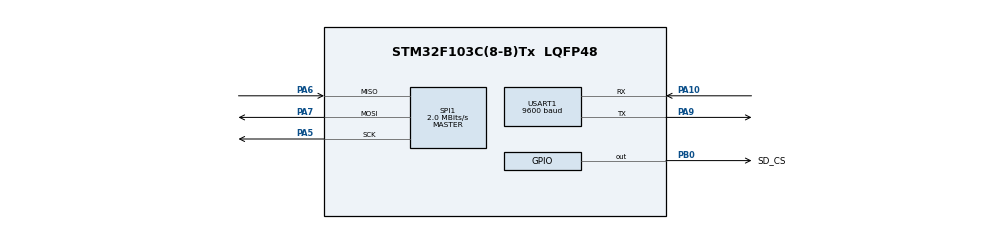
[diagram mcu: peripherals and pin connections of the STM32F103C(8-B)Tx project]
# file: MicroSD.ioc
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FATFS._FS_TINY=1
FATFS._MAX_SS=512
FATFS._USE_LFN=1
Mcu.Family=STM32F1
Mcu.Name=STM32F103C(8-B)Tx
Mcu.Package=LQFP48
NVIC.PriorityGroup=NVIC_PRIORITYGROUP_4
PA10.Mode=Asynchronous
PA10.Signal=USART1_RX
PA13.Mode=Serial_Wire
PA13.Signal=SYS_JTMS-SWDIO
PA14.Mode=Serial_Wire
PA14.Signal=SYS_JTCK-SWCLK
PA5.Mode=Full_Duplex_Master
PA5.Signal=SPI1_SCK
PA6.Mode=Full_Duplex_Master
PA6.Signal=SPI1_MISO
PA7.Mode=Full_Duplex_Master
PA7.Signal=SPI1_MOSI
PA9.Mode=Asynchronous
PA9.Signal=USART1_TX
PB0.GPIO_Label=SD_CS
PB0.Signal=GPIO_Output
ProjectManager.HeapSize=0x200
ProjectManager.StackSize=0x400
ProjectManager.TargetToolchain=STM32CubeIDE
RCC.APB1Freq_Value=8000000
RCC.APB2Freq_Value=8000000
SPI1.BaudRatePrescaler=SPI_BAUDRATEPRESCALER_4
SPI1.CalculateBaudRate=2.0 MBits/s
SPI1.Direction=SPI_DIRECTION_2LINES
SPI1.Mode=SPI_MODE_MASTER
SPI1.VirtualType=VM_MASTER
USART1.BaudRate=9600
USART1.VirtualMode=VM_ASYNC
VP_FATFS_VS_Generic.Mode=User_defined
board=custom

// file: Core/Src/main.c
/* USER CODE BEGIN Header */
/**
 ******************************************************************************
 * @file           : main.c
 * @brief          : Main program body
 ******************************************************************************
 * @attention
 *
 * Copyright (c) 2022 STMicroelectronics.
 * All rights reserved.
 *
 * This software is licensed under terms that can be found in the LICENSE file
 * in the root directory of this software component.
 * If no LICENSE file comes with this software, it is provided AS-IS.
 *
 ******************************************************************************
 */
/* USER CODE END Header */
#include "main.h"
#include "fatfs.h"

/* USER CODE BEGIN Includes */
#include "fatfs_sd.h"
#include <string.h>
#include <stdio.h>
/* USER CODE END Includes */

 SPI_HandleTypeDef hspi1;

UART_HandleTypeDef huart1;

/* USER CODE BEGIN PV */
FATFS fs;  				// file system
FIL fil; 					// File
FILINFO fno;
FRESULT fresult;  // result
UINT br, bw;  		// File read/write count

/**** microSD capacity related *****/
FATFS *pfs;
DWORD fre_clust;

char buffer[128];	//buffer to write/read in microSD
/* USER CODE END PV */

void SystemClock_Config(void);
static void MX_GPIO_Init(void);
static void MX_SPI1_Init(void);
static void MX_USART1_UART_Init(void);
/* USER CODE BEGIN PFP */
static void bufclear(char *buf, uint16_t len);
static void send_uart(char *string);
static void microSD_init(void);
static void microSD_getSize(void);
static void microSD_put(char *name);
static void microSD_get(char *name);
/* USER CODE END PFP */

int main(void)
{

  /* MCU Configuration--------------------------------------------------------*/

  /* Reset of all peripherals, Initializes the Flash interface and the Systick. */
  HAL_Init();

  /* Configure the system clock */
  SystemClock_Config();

  /* Initialize all configured peripherals */
  MX_GPIO_Init();
  MX_SPI1_Init();
  MX_FATFS_Init();
  MX_USART1_UART_Init();
  /* USER CODE BEGIN 2 */
	microSD_init();
	microSD_getSize();
	microSD_put("prueba1.txt");
	microSD_get("prueba1.txt");
  /* USER CODE END 2 */

  /* Infinite loop */
	while (1) {

	}
}

void SystemClock_Config(void)
{
  RCC_OscInitTypeDef RCC_OscInitStruct = {0};
  RCC_ClkInitTypeDef RCC_ClkInitStruct = {0};

  /** Initializes the RCC Oscillators according to the specified parameters
  * in the RCC_OscInitTypeDef structure.
  */
  RCC_OscInitStruct.OscillatorType = RCC_OSCILLATORTYPE_HSI;
  RCC_OscInitStruct.HSIState = RCC_HSI_ON;
  RCC_OscInitStruct.HSICalibrationValue = RCC_HSICALIBRATION_DEFAULT;
  RCC_OscInitStruct.PLL.PLLState = RCC_PLL_NONE;
  if (HAL_RCC_OscConfig(&RCC_OscInitStruct) != HAL_OK)
  {
    Error_Handler();
  }

  /** Initializes the CPU, AHB and APB buses clocks
  */
  RCC_ClkInitStruct.ClockType = RCC_CLOCKTYPE_HCLK|RCC_CLOCKTYPE_SYSCLK
                              |RCC_CLOCKTYPE_PCLK1|RCC_CLOCKTYPE_PCLK2;
  RCC_ClkInitStruct.SYSCLKSource = RCC_SYSCLKSOURCE_HSI;
  RCC_ClkInitStruct.AHBCLKDivider = RCC_SYSCLK_DIV1;
  RCC_ClkInitStruct.APB1CLKDivider = RCC_HCLK_DIV1;
  RCC_ClkInitStruct.APB2CLKDivider = RCC_HCLK_DIV1;

  if (HAL_RCC_ClockConfig(&RCC_ClkInitStruct, FLASH_LATENCY_0) != HAL_OK)
  {
    Error_Handler();
  }
}

static void MX_SPI1_Init(void)
{

  /* SPI1 parameter configuration*/
  hspi1.Instance = SPI1;
  hspi1.Init.Mode = SPI_MODE_MASTER;
  hspi1.Init.Direction = SPI_DIRECTION_2LINES;
  hspi1.Init.DataSize = SPI_DATASIZE_8BIT;
  hspi1.Init.CLKPolarity = SPI_POLARITY_LOW;
  hspi1.Init.CLKPhase = SPI_PHASE_1EDGE;
  hspi1.Init.NSS = SPI_NSS_SOFT;
  hspi1.Init.BaudRatePrescaler = SPI_BAUDRATEPRESCALER_4;
  hspi1.Init.FirstBit = SPI_FIRSTBIT_MSB;
  hspi1.Init.TIMode = SPI_TIMODE_DISABLE;
  hspi1.Init.CRCCalculation = SPI_CRCCALCULATION_DISABLE;
  hspi1.Init.CRCPolynomial = 10;
  if (HAL_SPI_Init(&hspi1) != HAL_OK)
  {
    Error_Handler();
  }

}

static void MX_USART1_UART_Init(void)
{

  huart1.Instance = USART1;
  huart1.Init.BaudRate = 9600;
  huart1.Init.WordLength = UART_WORDLENGTH_8B;
  huart1.Init.StopBits = UART_STOPBITS_1;
  huart1.Init.Parity = UART_PARITY_NONE;
  huart1.Init.Mode = UART_MODE_TX_RX;
  huart1.Init.HwFlowCtl = UART_HWCONTROL_NONE;
  huart1.Init.OverSampling = UART_OVERSAMPLING_16;
  if (HAL_UART_Init(&huart1) != HAL_OK)
  {
    Error_Handler();
  }

}

static void MX_GPIO_Init(void)
{
  GPIO_InitTypeDef GPIO_InitStruct = {0};

  /* GPIO Ports Clock Enable */
  __HAL_RCC_GPIOA_CLK_ENABLE();
  __HAL_RCC_GPIOB_CLK_ENABLE();

  /*Configure GPIO pin Output Level */
  HAL_GPIO_WritePin(SD_CS_GPIO_Port, SD_CS_Pin, GPIO_PIN_RESET);

  /*Configure GPIO pin : SD_CS_Pin */
  GPIO_InitStruct.Pin = SD_CS_Pin;
  GPIO_InitStruct.Mode = GPIO_MODE_OUTPUT_PP;
  GPIO_InitStruct.Pull = GPIO_NOPULL;
  GPIO_InitStruct.Speed = GPIO_SPEED_FREQ_LOW;
  HAL_GPIO_Init(SD_CS_GPIO_Port, &GPIO_InitStruct);

}

/* USER CODE BEGIN 4 */
//Funcion para limiar el buffer
static void bufclear(char *buf, uint16_t len) {
	for (int i = 0; i < len; i++) {
		buf[i] = '\0';
	}
}
//------------------------------------------------------------

static void send_uart(char *string) {
	uint8_t len = strlen(string);
	HAL_UART_Transmit(&huart1, (uint8_t*) string, len, 2000);
}
//------------------------------------------------------------

//Montamos el sistema de archivos
static void microSD_init(void) {
	fresult = f_mount(&fs, "/", 1);
	if (fresult != FR_OK)
		send_uart("ERROR!!! montaje tarjeta microSD fallido...\n");
	else
		send_uart("microSD CARD montada con exito\n");
}
//------------------------------------------------------------

//leemos la capacidad y el espacio libre
static void microSD_getSize(void) {
	f_getfree("", &fre_clust, &pfs);	//check free space

	//get microSD size in KB
	uint32_t total = (uint32_t) ((pfs->n_fatent - 2) * pfs->csize * 0.5);
	sprintf(buffer, "SD CARD Total Size: \t%luKB\n", total);
	send_uart(buffer);
	uint16_t len = strlen(buffer);
	bufclear(buffer, len);

	//get free space in KB
	uint32_t freeSpace;
	freeSpace = (uint32_t) (fre_clust * pfs->csize * 0.5);
	sprintf(buffer, "SD CARD Free Space: \t%luKB\n\n", freeSpace);
	send_uart(buffer);
	len = strlen(buffer);
	bufclear(buffer, len);
}
//------------------------------------------------------------

//guardamos informacion con PUTS
static void microSD_put(char *name) {
	//Open file to write/ create a file if it doesn't exist
	fresult = f_open(&fil, name, FA_OPEN_ALWAYS | FA_READ | FA_WRITE);

	//Write data
	f_puts("Prueba PUTS, suscribete Prro!\n", &fil);

	//Close file
	fresult = f_close(&fil);

	if (fresult == FR_OK) {
		sprintf(buffer, "%s%s", name, " creado y los datos fueron escritos\n");
		send_uart(buffer);
	}

	uint8_t len = strlen(buffer);
	bufclear(buffer, len);
}
//------------------------------------------------------------

//guardamos informacion con PUTS
static void microSD_get(char *name) {
	//Open file to read
	fresult = f_open(&fil, name, FA_READ);

	if (fresult == FR_OK) {
		//Read data from the file */
		f_gets(buffer, f_size(&fil), &fil);

		char msg[50];
		sprintf(msg, "%s%s", name,
				" Fue abierto y contiene los siguientes datos:\n");
		send_uart(msg);
		send_uart(buffer);
		send_uart("\n");

		/* Close file */
		f_close(&fil);
		uint8_t len = strlen(buffer);
		bufclear(buffer, len);
	}
}
//------------------------------------------------------------
/* USER CODE END 4 */

void Error_Handler(void)
{
	__disable_irq();
	while (1) {
	}
}
